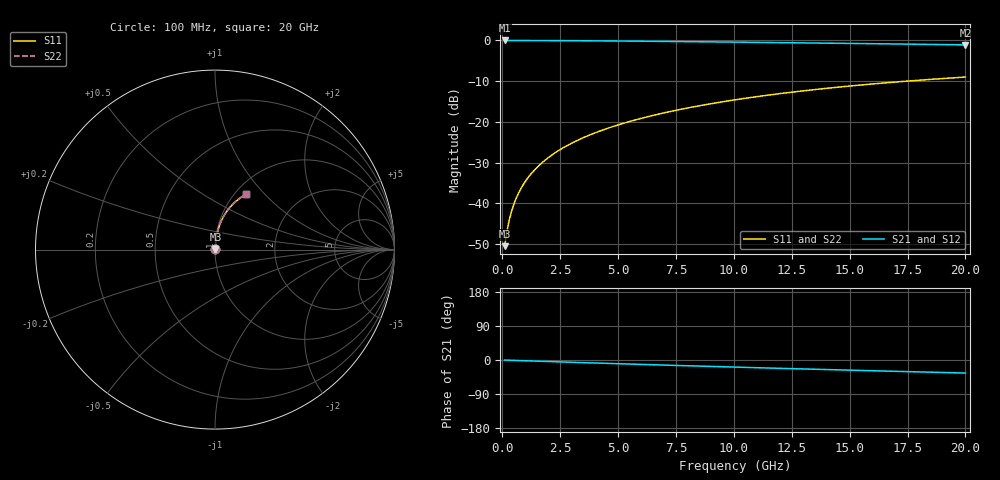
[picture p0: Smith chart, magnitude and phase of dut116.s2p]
! Touchstone file exported from HFSS 2024.1.0
!  File:  C:/UserFiles/LocalFiles/RDL_TSV_Batchsim/temp_RDL_top_116_1778683804.aedt
!  Generated:  10:52:18 PM May 13, 2026
!  Design:  RDL_top
!  Project:  temp_RDL_top_116_1778683804
!  Setup:  Setup1
!  Solution:  Sweep
! Variables:
!  dtsv = 10.80580581um
!  hbump = 3um
!  htsv = 74.89um
!  ldown = 100um
!  lrdl = 463.41um
!  p = 40
!  p1 = 48.72um
!  rhole = 1um
!  t = 450um
!  tdown = 3.915915916um
!  trdl = 4.42um
!  wdown = 15.38538539um
!  wrdl = 17.34um
# GHz S MA R 50.000000
! Terminal data exported
! Port[1] = Box2_T1
! Port[2] = Box2_T2
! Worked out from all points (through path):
!   200 points, 100 MHz to 20 GHz, reference 50 ohm
!   highest |S21| = -0.02 dB at 100 MHz (marker M1); lowest = -1.1 dB at 20 GHz (marker M2)
!   group delay of S21, straight-line fit = 4.75 ps
!   lowest |S11| = -50.5 dB at 100 MHz (marker M3), VSWR 1.01, Z = 50.2 + j0.195 ohm
!   |S11| at or under -10 dB: start of sweep to 17.47 GHz
!   |S22| runs from -50.5 to -9.0 dB; largest |S21 - S12| = 3.1e-15
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0.1  0.002991 40.5  0.9977 -0.2  0.9977 -0.2  0.002991 40.5
! Gamma 0 0 0 0
! Port Impedance 50 0 50 0
0.2  0.00452 58.7  0.9976 -0.4  0.9976 -0.4  0.00452 58.7
0.3  0.006252 67.0  0.9975 -0.6  0.9975 -0.6  0.006252 67.0
0.4  0.00803 71.4  0.9974 -0.8  0.9974 -0.8  0.00803 71.4
0.5  0.009815 74.2  0.9973 -1.0  0.9973 -1.0  0.009815 74.2
0.6  0.0116 76.1  0.9971 -1.2  0.9971 -1.2  0.0116 76.1
0.8  0.01516 78.6  0.9969 -1.6  0.9969 -1.6  0.01516 78.6
1.1  0.0205 80.8  0.9965 -2.2  0.9965 -2.2  0.0205 80.8
1.5  0.02767 82.3  0.9957 -3.0  0.9957 -3.0  0.02767 82.3
1.8  0.03307 82.9  0.9951 -3.6  0.9951 -3.6  0.03307 82.9
2.1  0.0385 83.3  0.9943 -4.2  0.9943 -4.2  0.0385 83.3
2.7  0.04941 83.6  0.9925 -5.4  0.9925 -5.4  0.04941 83.6
3.5  0.06407 83.4  0.9896 -7.0  0.9896 -7.0  0.06407 83.4
4.2  0.077 83.0  0.9865 -8.3  0.9865 -8.3  0.077 83.0
5  0.09187 82.4  0.9827 -9.8  0.9827 -9.8  0.09187 82.4
5.9  0.1087 81.4  0.9778 -11.5  0.9778 -11.5  0.1087 81.5
6.8  0.1256 80.4  0.9727 -13.1  0.9727 -13.1  0.1256 80.4
8.4  0.1557 78.3  0.9629 -15.9  0.9629 -15.9  0.1558 78.3
10.1  0.1876 75.8  0.9519 -18.9  0.9519 -18.9  0.1876 75.8
13.4  0.2476 70.7  0.9292 -24.3  0.9292 -24.3  0.2476 70.7
16.7  0.3038 65.6  0.9054 -29.5  0.9054 -29.5  0.3038 65.6
20  0.3551 60.5  0.8809 -34.4  0.8809 -34.4  0.3552 60.5
